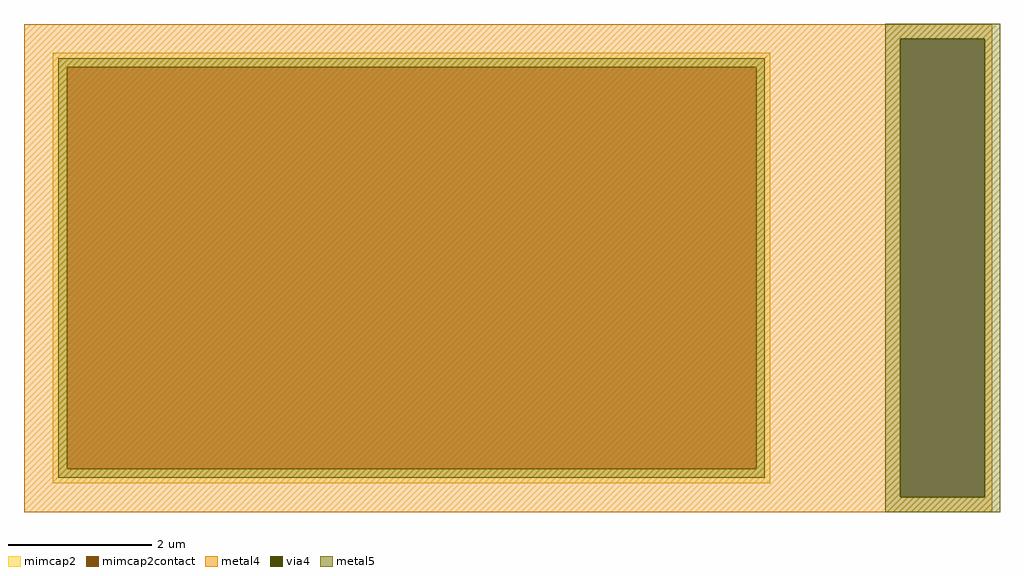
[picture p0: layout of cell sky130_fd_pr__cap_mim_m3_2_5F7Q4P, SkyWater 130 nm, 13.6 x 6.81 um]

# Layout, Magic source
magic
tech sky130A
magscale 1 2
<< metal4 >>
rect -1349 639 1349 680
rect -1349 -639 1093 639
rect 1329 -639 1349 639
rect -1349 -680 1349 -639
<< via4 >>
rect 1093 -639 1329 639
<< mimcap2 >>
rect -1269 560 731 600
rect -1269 -560 -1229 560
rect 691 -560 731 560
rect -1269 -600 731 -560
<< mimcap2contact >>
rect -1229 -560 691 560
<< metal5 >>
rect 1051 639 1371 681
rect -1253 560 715 584
rect -1253 -560 -1229 560
rect 691 -560 715 560
rect -1253 -584 715 -560
rect 1051 -639 1093 639
rect 1329 -639 1371 639
rect 1051 -681 1371 -639
<< properties >>
string FIXED_BBOX -1349 -680 811 680
string gencell sky130_fd_pr__cap_mim_m3_2
string library sky130
string parameters w 10 l 6 val 126.08 carea 2.00 cperi 0.19 nx 1 ny 1 dummy 0 square 0 lmin 2.00 wmin 2.00 lmax 30.0 wmax 30.0 dc 0 bconnect 1 tconnect 1 ccov 100
<< end >>
